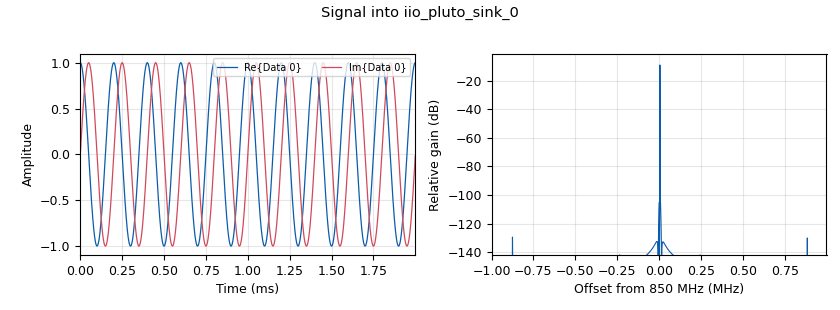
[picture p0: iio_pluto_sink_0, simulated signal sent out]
options:
  parameters:
    author: Philippe PUJAS
    generate_options: qt_gui
    id: fm_simple
    output_language: python
    title: Modulation FM simple
  states: {}

blocks:
- name: samp_rate
  id: variable
  parameters:
    value: '2000000'
  states: {}
- name: var_f_pe
  id: variable
  parameters:
    value: '850000000'
  states: {}
- name: var_f_pr
  id: variable
  parameters:
    value: '850000000'
  states: {}
- name: var_fe
  id: variable_qtgui_range
  parameters:
    outputmsgname: value
    showports: 'False'
    start: '0'
    step: '50'
    stop: '20000'
    value: '5000'
  states: {}
- name: var_rx_gain_db
  id: variable_qtgui_range
  parameters:
    outputmsgname: value
    showports: 'False'
    start: '0'
    step: '1'
    stop: '60'
    value: '30'
  states: {}
- name: var_tx_att_db
  id: variable_qtgui_range
  parameters:
    outputmsgname: value
    showports: 'False'
    start: '0'
    step: '1'
    stop: '60'
    value: '30'
  states: {}
- name: analog_sig_source_x_0
  id: analog_sig_source_x
  parameters:
    amp: '1'
    freq: var_fe
    offset: '0'
    phase: '0'
    samp_rate: samp_rate
    type: complex
    waveform: analog.GR_COS_WAVE
  states: {}
- name: iio_pluto_sink_0
  id: iio_pluto_sink
  parameters:
    attenuation1: var_tx_att_db
    bandwidth: '2000000'
    buffer_size: '32768'
    cyclic: 'False'
    filter_source: '''Auto'''
    frequency: var_f_pe
    samplerate: samp_rate
    type: fc32
    uri: ip:192.168.2.1
  states: {}
- name: iio_pluto_source_0
  id: iio_pluto_source
  parameters:
    bandwidth: '1000000'
    bbdc: 'True'
    buffer_size: '32768'
    filter_source: '''Auto'''
    fpass: '1000'
    frequency: var_f_pr
    fstop: '20000'
    gain1: '''manual'''
    manual_gain1: var_rx_gain_db
    quadrature: 'True'
    rfdc: 'True'
    samplerate: samp_rate
    type: fc32
    uri: ip:192.168.2.1
  states: {}
- name: note_0_0
  id: note
  parameters:
    note: Récepteur
  states: {}
- name: note_0_0_0
  id: note
  parameters:
    note: Régler l'atténuation entre 0 et 60 dB
  states: {}
- name: note_0_0_0_0
  id: note
  parameters:
    note: Régler le gain entre 0 et 60 dB
  states: {}
- name: note_0_0_1
  id: note
  parameters:
    note: Emetteur
  states: {}
- name: note_0_0_1_0
  id: note
  parameters:
    note: Signal à émettre
  states: {}
- name: note_0_0_1_0_0
  id: note
  parameters:
    note: Signal reçu
  states: {}
- name: qtgui_freq_sink_x_0
  id: qtgui_freq_sink_x
  parameters:
    bw: samp_rate
    fc: '0'
    fftsize: '2048'
    grid: 'True'
    type: complex
  states: {}
- name: qtgui_time_sink_x_0_1
  id: qtgui_time_sink_x
  parameters:
    grid: 'True'
    label1: Signa émis
    label2: Signal émis (Im)
    label3: Signal reçu
    label4: Signal reçu (im)
    nconnections: '2'
    size: '4096'
    srate: samp_rate
    style2: '3'
    style4: '3'
    tr_level: '0.5'
    tr_mode: qtgui.TRIG_MODE_AUTO
    type: complex
  states: {}
- name: qtgui_waterfall_sink_x_0
  id: qtgui_waterfall_sink_x
  parameters:
    bw: samp_rate
    fc: '0'
    fftsize: '1024'
    type: complex
  states: {state: disabled}

connections:
- [analog_sig_source_x_0, '0', iio_pluto_sink_0, '0']
- [analog_sig_source_x_0, '0', qtgui_time_sink_x_0_1, '0']
- [iio_pluto_source_0, '0', qtgui_freq_sink_x_0, '0']
- [iio_pluto_source_0, '0', qtgui_time_sink_x_0_1, '1']

metadata:
  file_format: 1
  grc_version: 3.10.4.0
